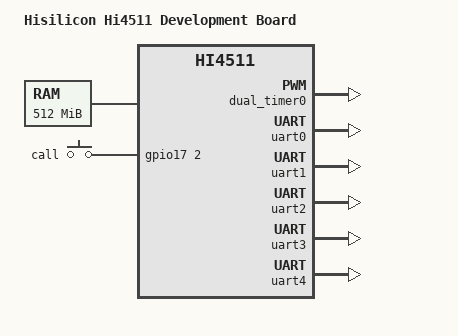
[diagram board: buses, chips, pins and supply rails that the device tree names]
// SPDX-License-Identifier: GPL-2.0-only
/*
 *  Copyright (C) 2012-2013 Linaro Ltd.
 *  Author: Haojian Zhuang <haojian.zhuang@linaro.org>
 */

/dts-v1/;

#include "hi3620.dtsi"

/ {
	model = "Hisilicon Hi4511 Development Board";
	compatible = "hisilicon,hi3620-hi4511";

	chosen {
		bootargs = "root=/dev/ram0";
		stdout-path = "serial0:115200n8";
	};

	memory@40000000 {
		device_type = "memory";
		reg = <0x40000000 0x20000000>;
	};

	amba-bus {
		dual_timer0: dual_timer@800000 {
			status = "okay";
		};

		uart0: serial@b00000 {	/* console */
			pinctrl-names = "default", "sleep";
			pinctrl-0 = <&uart0_pmx_func &uart0_cfg_func>;
			pinctrl-1 = <&uart0_pmx_idle &uart0_cfg_idle>;
			status = "okay";
		};

		uart1: serial@b01000 { /* modem */
			pinctrl-names = "default", "sleep";
			pinctrl-0 = <&uart1_pmx_func &uart1_cfg_func>;
			pinctrl-1 = <&uart1_pmx_idle &uart1_cfg_idle>;
			status = "okay";
		};

		uart2: serial@b02000 { /* audience */
			pinctrl-names = "default", "sleep";
			pinctrl-0 = <&uart2_pmx_func &uart2_cfg_func>;
			pinctrl-1 = <&uart2_pmx_idle &uart2_cfg_idle>;
			status = "okay";
		};

		uart3: serial@b03000 {
			pinctrl-names = "default", "sleep";
			pinctrl-0 = <&uart3_pmx_func &uart3_cfg_func>;
			pinctrl-1 = <&uart3_pmx_idle &uart3_cfg_idle>;
			status = "okay";
		};

		uart4: serial@b04000 {
			pinctrl-names = "default", "sleep";
			pinctrl-0 = <&uart4_pmx_func &uart4_cfg_func>;
			pinctrl-1 = <&uart4_pmx_idle &uart4_cfg_func>;
			status = "okay";
		};

		pmx0: pinmux@803000 {
			pinctrl-names = "default";
			pinctrl-0 = <&board_pmx_pins>;

			board_pmx_pins: board-pins {
				pinctrl-single,pins = <
					0x008 0x0	/* GPIO -- eFUSE_DOUT */
					0x100 0x0	/* USIM_CLK & USIM_DATA (IOMG63) */
				>;
			};
			uart0_pmx_func: uart0-pins {
				pinctrl-single,pins = <
					0x0f0 0x0
					0x0f4 0x0	/* UART0_RX & UART0_TX */
				>;
			};
			uart0_pmx_idle: uart0-idle-pins {
				pinctrl-single,pins = <
					/*0x0f0 0x1*/	/* UART0_CTS & UART0_RTS */
					0x0f4 0x1	/* UART0_RX & UART0_TX */
				>;
			};
			uart1_pmx_func: uart1-pins {
				pinctrl-single,pins = <
					0x0f8 0x0	/* UART1_CTS & UART1_RTS (IOMG61) */
					0x0fc 0x0	/* UART1_RX & UART1_TX (IOMG62) */
				>;
			};
			uart1_pmx_idle: uart1-idle-pins {
				pinctrl-single,pins = <
					0x0f8 0x1	/* GPIO (IOMG61) */
					0x0fc 0x1	/* GPIO (IOMG62) */
				>;
			};
			uart2_pmx_func: uart2-pins {
				pinctrl-single,pins = <
					0x104 0x2	/* UART2_RXD (IOMG96) */
					0x108 0x2	/* UART2_TXD (IOMG64) */
				>;
			};
			uart2_pmx_idle: uart2-idle-pins {
				pinctrl-single,pins = <
					0x104 0x1	/* GPIO (IOMG96) */
					0x108 0x1	/* GPIO (IOMG64) */
				>;
			};
			uart3_pmx_func: uart3-pins {
				pinctrl-single,pins = <
					0x160 0x2	/* UART3_CTS & UART3_RTS (IOMG85) */
					0x164 0x2	/* UART3_RXD & UART3_TXD (IOMG86) */
				>;
			};
			uart3_pmx_idle: uart3-idle-pins {
				pinctrl-single,pins = <
					0x160 0x1	/* GPIO (IOMG85) */
					0x164 0x1	/* GPIO (IOMG86) */
				>;
			};
			uart4_pmx_func: uart4-pins {
				pinctrl-single,pins = <
					0x168 0x0	/* UART4_CTS & UART4_RTS (IOMG87) */
					0x16c 0x0	/* UART4_RXD (IOMG88) */
					0x170 0x0	/* UART4_TXD (IOMG93) */
				>;
			};
			uart4_pmx_idle: uart4-idle-pins {
				pinctrl-single,pins = <
					0x168 0x1	/* GPIO (IOMG87) */
					0x16c 0x1	/* GPIO (IOMG88) */
					0x170 0x1	/* GPIO (IOMG93) */
				>;
			};
			i2c0_pmx_func: i2c0-pins {
				pinctrl-single,pins = <
					0x0b4 0x0	/* I2C0_SCL & I2C0_SDA (IOMG45) */
				>;
			};
			i2c0_pmx_idle: i2c0-idle-pins {
				pinctrl-single,pins = <
					0x0b4 0x1	/* GPIO (IOMG45) */
				>;
			};
			i2c1_pmx_func: i2c1-pins {
				pinctrl-single,pins = <
					0x0b8 0x0	/* I2C1_SCL & I2C1_SDA (IOMG46) */
				>;
			};
			i2c1_pmx_idle: i2c1-idle-pins {
				pinctrl-single,pins = <
					0x0b8 0x1	/* GPIO (IOMG46) */
				>;
			};
			i2c2_pmx_func: i2c2-pins {
				pinctrl-single,pins = <
					0x068 0x0	/* I2C2_SCL (IOMG26) */
					0x06c 0x0	/* I2C2_SDA (IOMG27) */
				>;
			};
			i2c2_pmx_idle: i2c2-idle-pins {
				pinctrl-single,pins = <
					0x068 0x1	/* GPIO (IOMG26) */
					0x06c 0x1	/* GPIO (IOMG27) */
				>;
			};
			i2c3_pmx_func: i2c3-pins {
				pinctrl-single,pins = <
					0x050 0x2	/* I2C3_SCL (IOMG20) */
					0x054 0x2	/* I2C3_SDA (IOMG21) */
				>;
			};
			i2c3_pmx_idle: i2c3-idle-pins {
				pinctrl-single,pins = <
					0x050 0x1	/* GPIO (IOMG20) */
					0x054 0x1	/* GPIO (IOMG21) */
				>;
			};
			spi0_pmx_func: spi0-pins {
				pinctrl-single,pins = <
					0x0d4 0x0	/* SPI0_CLK/SPI0_DI/SPI0_DO (IOMG53) */
					0x0d8 0x0	/* SPI0_CS0 (IOMG54) */
					0x0dc 0x0	/* SPI0_CS1 (IOMG55) */
					0x0e0 0x0	/* SPI0_CS2 (IOMG56) */
					0x0e4 0x0	/* SPI0_CS3 (IOMG57) */
				>;
			};
			spi0_pmx_idle: spi0-idle-pins {
				pinctrl-single,pins = <
					0x0d4 0x1	/* GPIO (IOMG53) */
					0x0d8 0x1	/* GPIO (IOMG54) */
					0x0dc 0x1	/* GPIO (IOMG55) */
					0x0e0 0x1	/* GPIO (IOMG56) */
					0x0e4 0x1	/* GPIO (IOMG57) */
				>;
			};
			spi1_pmx_func: spi1-pins {
				pinctrl-single,pins = <
					0x184 0x0	/* SPI1_CLK/SPI1_DI (IOMG98) */
					0x0e8 0x0	/* SPI1_DO (IOMG58) */
					0x0ec 0x0	/* SPI1_CS (IOMG95) */
				>;
			};
			spi1_pmx_idle: spi1-idle-pins {
				pinctrl-single,pins = <
					0x184 0x1	/* GPIO (IOMG98) */
					0x0e8 0x1	/* GPIO (IOMG58) */
					0x0ec 0x1	/* GPIO (IOMG95) */
				>;
			};
			kpc_pmx_func: kpc-pins {
				pinctrl-single,pins = <
					0x12c 0x0	/* KEY_IN0 (IOMG73) */
					0x130 0x0	/* KEY_IN1 (IOMG74) */
					0x134 0x0	/* KEY_IN2 (IOMG75) */
					0x10c 0x0	/* KEY_OUT0 (IOMG65) */
					0x110 0x0	/* KEY_OUT1 (IOMG66) */
					0x114 0x0	/* KEY_OUT2 (IOMG67) */
				>;
			};
			kpc_pmx_idle: kpc-idle-pins {
				pinctrl-single,pins = <
					0x12c 0x1	/* GPIO (IOMG73) */
					0x130 0x1	/* GPIO (IOMG74) */
					0x134 0x1	/* GPIO (IOMG75) */
					0x10c 0x1	/* GPIO (IOMG65) */
					0x110 0x1	/* GPIO (IOMG66) */
					0x114 0x1	/* GPIO (IOMG67) */
				>;
			};
			gpio_key_func: gpio-key-pins {
				pinctrl-single,pins = <
					0x10c 0x1	/* KEY_OUT0/GPIO (IOMG65) */
					0x130 0x1	/* KEY_IN1/GPIO (IOMG74) */
				>;
			};
			emmc_pmx_func: emmc-pins {
				pinctrl-single,pins = <
					0x030 0x2	/* eMMC_CMD/eMMC_CLK (IOMG12) */
					0x018 0x0	/* NAND_CS3_N (IOMG6) */
					0x024 0x0	/* NAND_BUSY2_N (IOMG8) */
					0x028 0x0	/* NAND_BUSY3_N (IOMG9) */
					0x02c 0x2	/* eMMC_DATA[0:7] (IOMG10) */
				>;
			};
			emmc_pmx_idle: emmc-idle-pins {
				pinctrl-single,pins = <
					0x030 0x0	/* GPIO (IOMG12) */
					0x018 0x1	/* GPIO (IOMG6) */
					0x024 0x1	/* GPIO (IOMG8) */
					0x028 0x1	/* GPIO (IOMG9) */
					0x02c 0x1	/* GPIO (IOMG10) */
				>;
			};
			sd_pmx_func: sd-pins {
				pinctrl-single,pins = <
					0x0bc 0x0	/* SD_CLK/SD_CMD/SD_DATA0/SD_DATA1/SD_DATA2 (IOMG47) */
					0x0c0 0x0	/* SD_DATA3 (IOMG48) */
				>;
			};
			sd_pmx_idle: sd-idle-pins {
				pinctrl-single,pins = <
					0x0bc 0x1	/* GPIO (IOMG47) */
					0x0c0 0x1	/* GPIO (IOMG48) */
				>;
			};
			nand_pmx_func: nand-pins {
				pinctrl-single,pins = <
					0x00c 0x0	/* NAND_ALE/NAND_CLE/.../NAND_DATA[0:7] (IOMG3) */
					0x010 0x0	/* NAND_CS1_N (IOMG4) */
					0x014 0x0	/* NAND_CS2_N (IOMG5) */
					0x018 0x0	/* NAND_CS3_N (IOMG6) */
					0x01c 0x0	/* NAND_BUSY0_N (IOMG94) */
					0x020 0x0	/* NAND_BUSY1_N (IOMG7) */
					0x024 0x0	/* NAND_BUSY2_N (IOMG8) */
					0x028 0x0	/* NAND_BUSY3_N (IOMG9) */
					0x02c 0x0	/* NAND_DATA[8:15] (IOMG10) */
				>;
			};
			nand_pmx_idle: nand-idle-pins {
				pinctrl-single,pins = <
					0x00c 0x1	/* GPIO (IOMG3) */
					0x010 0x1	/* GPIO (IOMG4) */
					0x014 0x1	/* GPIO (IOMG5) */
					0x018 0x1	/* GPIO (IOMG6) */
					0x01c 0x1	/* GPIO (IOMG94) */
					0x020 0x1	/* GPIO (IOMG7) */
					0x024 0x1	/* GPIO (IOMG8) */
					0x028 0x1	/* GPIO (IOMG9) */
					0x02c 0x1	/* GPIO (IOMG10) */
				>;
			};
			sdio_pmx_func: sdio-pins {
				pinctrl-single,pins = <
					0x0c4 0x0	/* SDIO_CLK/SDIO_CMD/SDIO_DATA[0:3] (IOMG49) */
				>;
			};
			sdio_pmx_idle: sdio-idle-pins {
				pinctrl-single,pins = <
					0x0c4 0x1	/* GPIO (IOMG49) */
				>;
			};
			audio_out_pmx_func: audio-out-pins {
				pinctrl-single,pins = <
					0x0f0 0x1	/* GPIO (IOMG59), audio spk & earphone */
				>;
			};
		};

		pmx1: pinmux@803800 {
			pinctrl-names = "default";
			pinctrl-0 = <	&board_pu_pins &board_pd_pins &board_pd_ps_pins
					&board_np_pins &board_ps_pins &kpc_cfg_func
					&audio_out_cfg_func>;
			board_pu_pins: board-pu-pins {
				pinctrl-single,pins = <
					0x014 0		/* GPIO_158 (IOCFG2) */
					0x018 0		/* GPIO_159 (IOCFG3) */
					0x01c 0		/* BOOT_MODE0 (IOCFG4) */
					0x020 0		/* BOOT_MODE1 (IOCFG5) */
				>;
				pinctrl-single,bias-pulldown = <0 2 0 2>;
				pinctrl-single,bias-pullup = <1 1 0 1>;
			};
			board_pd_pins: board-pd-pins {
				pinctrl-single,pins = <
					0x038 0		/* eFUSE_DOUT (IOCFG11) */
					0x150 0		/* ISP_GPIO8 (IOCFG93) */
					0x154 0		/* ISP_GPIO9 (IOCFG94) */
				>;
				pinctrl-single,bias-pulldown = <2 2 0 2>;
				pinctrl-single,bias-pullup = <0 1 0 1>;
			};
			board_pd_ps_pins: board-pd-ps-pins {
				pinctrl-single,pins = <
					0x2d8 0		/* CLK_OUT0 (IOCFG190) */
					0x004 0		/* PMU_SPI_DATA (IOCFG192) */
				>;
				pinctrl-single,bias-pulldown = <2 2 0 2>;
				pinctrl-single,bias-pullup = <0 1 0 1>;
				pinctrl-single,drive-strength = <0x30 0xf0>;
			};
			board_np_pins: board-np-pins {
				pinctrl-single,pins = <
					0x24c 0		/* KEYPAD_OUT7 (IOCFG155) */
				>;
				pinctrl-single,bias-pulldown = <0 2 0 2>;
				pinctrl-single,bias-pullup = <0 1 0 1>;
			};
			board_ps_pins: board-ps-pins {
				pinctrl-single,pins = <
					0x000 0		/* PMU_SPI_CLK (IOCFG191) */
					0x008 0		/* PMU_SPI_CS_N (IOCFG193) */
				>;
				pinctrl-single,drive-strength = <0x30 0xf0>;
			};
			uart0_cfg_func: uart0-cfg-pins {
				pinctrl-single,pins = <
					0x208 0		/* UART0_RXD (IOCFG138) */
					0x20c 0		/* UART0_TXD (IOCFG139) */
				>;
				pinctrl-single,bias-pulldown = <0 2 0 2>;
				pinctrl-single,bias-pullup = <0 1 0 1>;
			};
			uart0_cfg_idle: uart0-cfg-idle-pins {
				pinctrl-single,pins = <
					0x208 0		/* UART0_RXD (IOCFG138) */
					0x20c 0		/* UART0_TXD (IOCFG139) */
				>;
				pinctrl-single,bias-pulldown = <2 2 0 2>;
				pinctrl-single,bias-pullup = <0 1 0 1>;
			};
			uart1_cfg_func: uart1-cfg-pins {
				pinctrl-single,pins = <
					0x210 0		/* UART1_CTS (IOCFG140) */
					0x214 0		/* UART1_RTS (IOCFG141) */
					0x218 0		/* UART1_RXD (IOCFG142) */
					0x21c 0		/* UART1_TXD (IOCFG143) */
				>;
				pinctrl-single,bias-pulldown = <0 2 0 2>;
				pinctrl-single,bias-pullup = <0 1 0 1>;
			};
			uart1_cfg_idle: uart1-cfg-idle-pins {
				pinctrl-single,pins = <
					0x210 0		/* UART1_CTS (IOCFG140) */
					0x214 0		/* UART1_RTS (IOCFG141) */
					0x218 0		/* UART1_RXD (IOCFG142) */
					0x21c 0		/* UART1_TXD (IOCFG143) */
				>;
				pinctrl-single,bias-pulldown = <2 2 0 2>;
				pinctrl-single,bias-pullup = <0 1 0 1>;
			};
			uart2_cfg_func: uart2-cfg-pins {
				pinctrl-single,pins = <
					0x220 0		/* UART2_CTS (IOCFG144) */
					0x224 0		/* UART2_RTS (IOCFG145) */
					0x228 0		/* UART2_RXD (IOCFG146) */
					0x22c 0		/* UART2_TXD (IOCFG147) */
				>;
				pinctrl-single,bias-pulldown = <0 2 0 2>;
				pinctrl-single,bias-pullup = <0 1 0 1>;
			};
			uart2_cfg_idle: uart2-cfg-idle-pins {
				pinctrl-single,pins = <
					0x220 0		/* GPIO (IOCFG144) */
					0x224 0		/* GPIO (IOCFG145) */
					0x228 0		/* GPIO (IOCFG146) */
					0x22c 0		/* GPIO (IOCFG147) */
				>;
				pinctrl-single,bias-pulldown = <2 2 0 2>;
				pinctrl-single,bias-pullup = <0 1 0 1>;
			};
			uart3_cfg_func: uart3-cfg-pins {
				pinctrl-single,pins = <
					0x294 0		/* UART3_CTS (IOCFG173) */
					0x298 0		/* UART3_RTS (IOCFG174) */
					0x29c 0		/* UART3_RXD (IOCFG175) */
					0x2a0 0		/* UART3_TXD (IOCFG176) */
				>;
				pinctrl-single,bias-pulldown = <0 2 0 2>;
				pinctrl-single,bias-pullup = <0 1 0 1>;
			};
			uart3_cfg_idle: uart3-cfg-idle-pins {
				pinctrl-single,pins = <
					0x294 0		/* UART3_CTS (IOCFG173) */
					0x298 0		/* UART3_RTS (IOCFG174) */
					0x29c 0		/* UART3_RXD (IOCFG175) */
					0x2a0 0		/* UART3_TXD (IOCFG176) */
				>;
				pinctrl-single,bias-pulldown = <2 2 0 2>;
				pinctrl-single,bias-pullup = <0 1 0 1>;
			};
			uart4_cfg_func: uart4-cfg-pins {
				pinctrl-single,pins = <
					0x2a4 0		/* UART4_CTS (IOCFG177) */
					0x2a8 0		/* UART4_RTS (IOCFG178) */
					0x2ac 0		/* UART4_RXD (IOCFG179) */
					0x2b0 0		/* UART4_TXD (IOCFG180) */
				>;
				pinctrl-single,bias-pulldown = <0 2 0 2>;
				pinctrl-single,bias-pullup = <0 1 0 1>;
			};
			i2c0_cfg_func: i2c0-cfg-pins {
				pinctrl-single,pins = <
					0x17c 0		/* I2C0_SCL (IOCFG103) */
					0x180 0		/* I2C0_SDA (IOCFG104) */
				>;
				pinctrl-single,bias-pulldown = <0 2 0 2>;
				pinctrl-single,bias-pullup = <0 1 0 1>;
				pinctrl-single,drive-strength = <0x30 0xf0>;
			};
			i2c1_cfg_func: i2c1-cfg-pins {
				pinctrl-single,pins = <
					0x184 0		/* I2C1_SCL (IOCFG105) */
					0x188 0		/* I2C1_SDA (IOCFG106) */
				>;
				pinctrl-single,bias-pulldown = <0 2 0 2>;
				pinctrl-single,bias-pullup = <0 1 0 1>;
				pinctrl-single,drive-strength = <0x30 0xf0>;
			};
			i2c2_cfg_func: i2c2-cfg-pins {
				pinctrl-single,pins = <
					0x118 0		/* I2C2_SCL (IOCFG79) */
					0x11c 0		/* I2C2_SDA (IOCFG80) */
				>;
				pinctrl-single,bias-pulldown = <0 2 0 2>;
				pinctrl-single,bias-pullup = <0 1 0 1>;
				pinctrl-single,drive-strength = <0x30 0xf0>;
			};
			i2c3_cfg_func: i2c3-cfg-pins {
				pinctrl-single,pins = <
					0x100 0		/* I2C3_SCL (IOCFG73) */
					0x104 0		/* I2C3_SDA (IOCFG74) */
				>;
				pinctrl-single,bias-pulldown = <0 2 0 2>;
				pinctrl-single,bias-pullup = <0 1 0 1>;
				pinctrl-single,drive-strength = <0x30 0xf0>;
			};
			spi0_cfg_func1: spi0-cfg-func1-pins {
				pinctrl-single,pins = <
					0x1d4 0		/* SPI0_CLK (IOCFG125) */
					0x1d8 0		/* SPI0_DI (IOCFG126) */
					0x1dc 0		/* SPI0_DO (IOCFG127) */
				>;
				pinctrl-single,bias-pulldown = <2 2 0 2>;
				pinctrl-single,bias-pullup = <0 1 0 1>;
				pinctrl-single,drive-strength = <0x30 0xf0>;
			};
			spi0_cfg_func2: spi0-cfg-func2-pins {
				pinctrl-single,pins = <
					0x1e0 0		/* SPI0_CS0 (IOCFG128) */
					0x1e4 0		/* SPI0_CS1 (IOCFG129) */
					0x1e8 0		/* SPI0_CS2 (IOCFG130 */
					0x1ec 0		/* SPI0_CS3 (IOCFG131) */
				>;
				pinctrl-single,bias-pulldown = <0 2 0 2>;
				pinctrl-single,bias-pullup = <1 1 0 1>;
				pinctrl-single,drive-strength = <0x30 0xf0>;
			};
			spi1_cfg_func1: spi1-cfg-func1-pins {
				pinctrl-single,pins = <
					0x1f0 0		/* SPI1_CLK (IOCFG132) */
					0x1f4 0		/* SPI1_DI (IOCFG133) */
					0x1f8 0		/* SPI1_DO (IOCFG134) */
				>;
				pinctrl-single,bias-pulldown = <2 2 0 2>;
				pinctrl-single,bias-pullup = <0 1 0 1>;
				pinctrl-single,drive-strength = <0x30 0xf0>;
			};
			spi1_cfg_func2: spi1-cfg-func2-pins {
				pinctrl-single,pins = <
					0x1fc 0		/* SPI1_CS (IOCFG135) */
				>;
				pinctrl-single,bias-pulldown = <0 2 0 2>;
				pinctrl-single,bias-pullup = <1 1 0 1>;
				pinctrl-single,drive-strength = <0x30 0xf0>;
			};
			kpc_cfg_func: kpc-cfg-pins {
				pinctrl-single,pins = <
					0x250 0		/* KEY_IN0 (IOCFG156) */
					0x254 0		/* KEY_IN1 (IOCFG157) */
					0x258 0		/* KEY_IN2 (IOCFG158) */
					0x230 0		/* KEY_OUT0 (IOCFG148) */
					0x234 0		/* KEY_OUT1 (IOCFG149) */
					0x238 0		/* KEY_OUT2 (IOCFG150) */
				>;
				pinctrl-single,bias-pulldown = <2 2 0 2>;
				pinctrl-single,bias-pullup = <0 1 0 1>;
			};
			emmc_cfg_func: emmc-cfg-pins {
				pinctrl-single,pins = <
					0x0ac 0		/* eMMC_CMD (IOCFG40) */
					0x0b0 0		/* eMMC_CLK (IOCFG41) */
					0x058 0		/* NAND_CS3_N (IOCFG19) */
					0x064 0		/* NAND_BUSY2_N (IOCFG22) */
					0x068 0		/* NAND_BUSY3_N (IOCFG23) */
					0x08c 0		/* NAND_DATA8 (IOCFG32) */
					0x090 0		/* NAND_DATA9 (IOCFG33) */
					0x094 0		/* NAND_DATA10 (IOCFG34) */
					0x098 0		/* NAND_DATA11 (IOCFG35) */
					0x09c 0		/* NAND_DATA12 (IOCFG36) */
					0x0a0 0		/* NAND_DATA13 (IOCFG37) */
					0x0a4 0		/* NAND_DATA14 (IOCFG38) */
					0x0a8 0		/* NAND_DATA15 (IOCFG39) */
				>;
				pinctrl-single,bias-pulldown = <0 2 0 2>;
				pinctrl-single,bias-pullup = <1 1 0 1>;
				pinctrl-single,drive-strength = <0x30 0xf0>;
			};
			sd_cfg_func1: sd-cfg-func1-pins {
				pinctrl-single,pins = <
					0x18c 0		/* SD_CLK (IOCFG107) */
					0x190 0		/* SD_CMD (IOCFG108) */
				>;
				pinctrl-single,bias-pulldown = <2 2 0 2>;
				pinctrl-single,bias-pullup = <0 1 0 1>;
				pinctrl-single,drive-strength = <0x30 0xf0>;
			};
			sd_cfg_func2: sd-cfg-func2-pins {
				pinctrl-single,pins = <
					0x194 0		/* SD_DATA0 (IOCFG109) */
					0x198 0		/* SD_DATA1 (IOCFG110) */
					0x19c 0		/* SD_DATA2 (IOCFG111) */
					0x1a0 0		/* SD_DATA3 (IOCFG112) */
				>;
				pinctrl-single,bias-pulldown = <2 2 0 2>;
				pinctrl-single,bias-pullup = <0 1 0 1>;
				pinctrl-single,drive-strength = <0x70 0xf0>;
			};
			nand_cfg_func1: nand-cfg-func1-pins {
				pinctrl-single,pins = <
					0x03c 0		/* NAND_ALE (IOCFG12) */
					0x040 0		/* NAND_CLE (IOCFG13) */
					0x06c 0		/* NAND_DATA0 (IOCFG24) */
					0x070 0		/* NAND_DATA1 (IOCFG25) */
					0x074 0		/* NAND_DATA2 (IOCFG26) */
					0x078 0		/* NAND_DATA3 (IOCFG27) */
					0x07c 0		/* NAND_DATA4 (IOCFG28) */
					0x080 0		/* NAND_DATA5 (IOCFG29) */
					0x084 0		/* NAND_DATA6 (IOCFG30) */
					0x088 0		/* NAND_DATA7 (IOCFG31) */
					0x08c 0		/* NAND_DATA8 (IOCFG32) */
					0x090 0		/* NAND_DATA9 (IOCFG33) */
					0x094 0		/* NAND_DATA10 (IOCFG34) */
					0x098 0		/* NAND_DATA11 (IOCFG35) */
					0x09c 0		/* NAND_DATA12 (IOCFG36) */
					0x0a0 0		/* NAND_DATA13 (IOCFG37) */
					0x0a4 0		/* NAND_DATA14 (IOCFG38) */
					0x0a8 0		/* NAND_DATA15 (IOCFG39) */
				>;
				pinctrl-single,bias-pulldown = <2 2 0 2>;
				pinctrl-single,bias-pullup = <0 1 0 1>;
				pinctrl-single,drive-strength = <0x30 0xf0>;
			};
			nand_cfg_func2: nand-cfg-func2-pins {
				pinctrl-single,pins = <
					0x044 0		/* NAND_RE_N (IOCFG14) */
					0x048 0		/* NAND_WE_N (IOCFG15) */
					0x04c 0		/* NAND_CS0_N (IOCFG16) */
					0x050 0		/* NAND_CS1_N (IOCFG17) */
					0x054 0		/* NAND_CS2_N (IOCFG18) */
					0x058 0		/* NAND_CS3_N (IOCFG19) */
					0x05c 0		/* NAND_BUSY0_N (IOCFG20) */
					0x060 0		/* NAND_BUSY1_N (IOCFG21) */
					0x064 0		/* NAND_BUSY2_N (IOCFG22) */
					0x068 0		/* NAND_BUSY3_N (IOCFG23) */
				>;
				pinctrl-single,bias-pulldown = <0 2 0 2>;
				pinctrl-single,bias-pullup = <1 1 0 1>;
				pinctrl-single,drive-strength = <0x30 0xf0>;
			};
			sdio_cfg_func: sdio-cfg-pins {
				pinctrl-single,pins = <
					0x1a4 0		/* SDIO0_CLK (IOCG113) */
					0x1a8 0		/* SDIO0_CMD (IOCG114) */
					0x1ac 0		/* SDIO0_DATA0 (IOCG115) */
					0x1b0 0		/* SDIO0_DATA1 (IOCG116) */
					0x1b4 0		/* SDIO0_DATA2 (IOCG117) */
					0x1b8 0		/* SDIO0_DATA3 (IOCG118) */
				>;
				pinctrl-single,bias-pulldown = <2 2 0 2>;
				pinctrl-single,bias-pullup = <0 1 0 1>;
				pinctrl-single,drive-strength = <0x30 0xf0>;
			};
			audio_out_cfg_func: audio-out-cfg-pins {
				pinctrl-single,pins = <
					0x200 0		/* GPIO (IOCFG136) */
					0x204 0		/* GPIO (IOCFG137) */
				>;
				pinctrl-single,bias-pulldown = <2 2 0 2>;
				pinctrl-single,bias-pullup = <0 1 0 1>;
			};
		};
	};

	gpio-keys {
		compatible = "gpio-keys";

		call {
			label = "call";
			gpios = <&gpio17 2 0>;
			linux,code = <169>;	/* KEY_PHONE */
		};
	};
};
